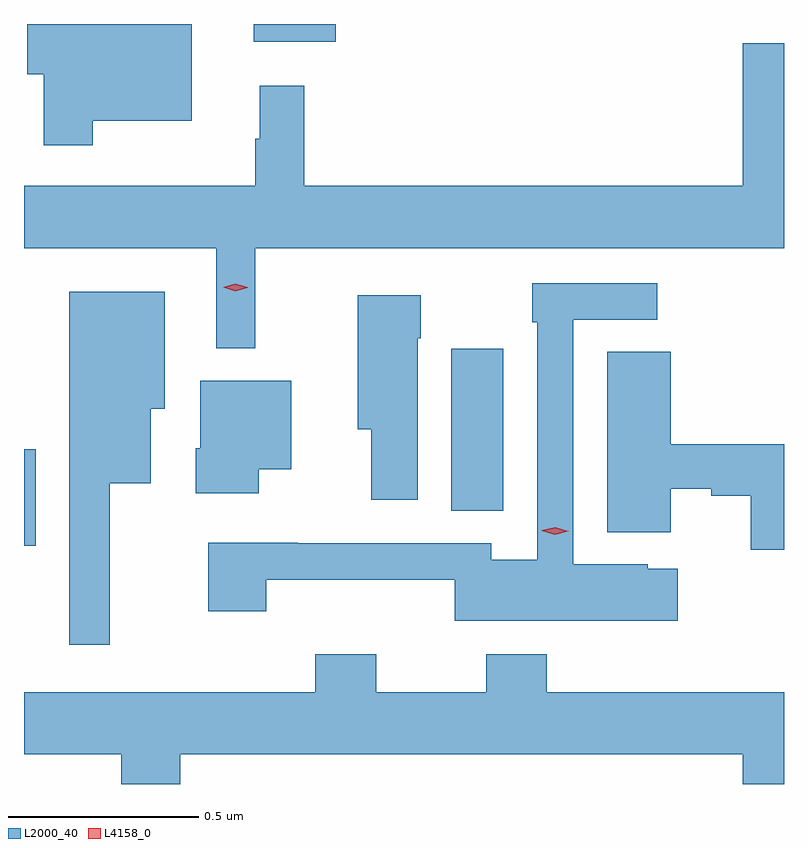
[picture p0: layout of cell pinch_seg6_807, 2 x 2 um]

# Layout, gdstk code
import gdstk
lib = gdstk.Library(unit=1e-6, precision=1e-09)
def R(c, l, rs):  # rectangles x0, y0, x1, y1
    for r in rs: c.add(gdstk.rectangle(r[:2], r[2:], *l))
def P(c, l, *ps):  # polygons
    for p in ps: c.add(gdstk.Polygon(p, *l))
L2000_40 = (2000, 40)
L4158_0 = (4158, 0)

pinch_seg6_807 = lib.new_cell('pinch_seg6_807')
R(pinch_seg6_807, L2000_40, [(330.948,961.205,330.979,961.459), (332.072,961.297,332.209,961.723), (331.553,962.531,331.768,962.578)])
P(pinch_seg6_807, L2000_40, [(331.129,962.324),(331.39,962.324),(331.39,962.578),(330.956,962.578),(330.956,962.446),(331,962.446),(331,962.259),(331.129,962.259)],
  [(331.556,961.988),(332.948,961.988),(332.948,962.527),(332.84,962.527),(332.84,962.152),(331.685,962.152),(331.685,962.416),(331.568,962.416),(331.568,962.276),(331.557,962.276),(331.557,962.152),(330.948,962.152),(330.948,961.988),(331.454,961.988),(331.454,961.725),(331.556,961.725)],
  [(332.668,961.144),(332.589,961.144),(332.589,961.156),(332.394,961.156),(332.394,961.8),(332.614,961.8),(332.614,961.896),(332.286,961.896),(332.286,961.793),(332.298,961.793),(332.298,961.168),(332.178,961.168),(332.178,961.212),(331.669,961.212),(331.669,961.213),(331.433,961.213),(331.433,961.032),(331.586,961.032),(331.586,961.115),(332.082,961.115),(332.082,961.007),(332.668,961.007)],
  [(331.174,961.37),(331.282,961.37),(331.282,961.565),(331.318,961.565),(331.318,961.873),(331.067,961.873),(331.067,960.945),(331.174,960.945)],
  [(331.984,961.751),(331.992,961.751),(331.992,961.864),(331.826,961.864),(331.826,961.511),(331.862,961.511),(331.862,961.326),(331.984,961.326)],
  [(332.948,961.472),(332.65,961.472),(332.65,961.715),(332.483,961.715),(332.483,961.241),(332.65,961.241),(332.65,961.355),(332.756,961.355),(332.756,961.336),(332.861,961.336),(332.861,961.195),(332.948,961.195)],
  [(331.566,961.406),(331.651,961.406),(331.651,961.639),(331.412,961.639),(331.412,961.461),(331.4,961.461),(331.4,961.343),(331.566,961.343)],
  [(331.359,960.656),(332.84,960.656),(332.84,960.578),(332.948,960.578),(332.948,960.82),(332.324,960.82),(332.324,960.919),(332.164,960.919),(332.164,960.82),(331.875,960.82),(331.875,960.919),(331.715,960.919),(331.715,960.82),(330.948,960.82),(330.948,960.656),(331.204,960.656),(331.204,960.578),(331.359,960.578)])
P(pinch_seg6_807, L4158_0, [(332.345,961.234),(332.311,961.245),(332.311,961.246),(332.311,961.246),(332.346,961.254),(332.38,961.243),(332.381,961.243),(332.38,961.243)],
  [(331.504,961.875),(331.472,961.885),(331.471,961.885),(331.472,961.885),(331.504,961.895),(331.537,961.885),(331.537,961.884),(331.537,961.884)])

lib.write_gds('pinch_seg6_807.gds')
